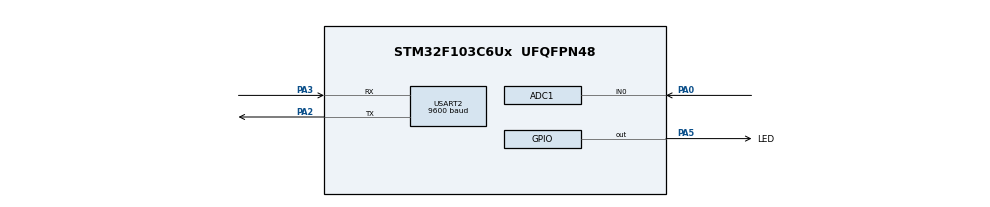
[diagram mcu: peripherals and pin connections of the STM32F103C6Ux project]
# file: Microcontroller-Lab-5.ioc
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ADC1.Channel-0\#ChannelRegularConversion=ADC_CHANNEL_0
ADC1.ContinuousConvMode=ENABLE
ADC1.NbrOfConversionFlag=1
ADC1.Rank-0\#ChannelRegularConversion=1
ADC1.SamplingTime-0\#ChannelRegularConversion=ADC_SAMPLETIME_1CYCLE_5
ADC1.master=1
Mcu.Family=STM32F1
Mcu.Name=STM32F103C6Ux
Mcu.Package=UFQFPN48
NVIC.PriorityGroup=NVIC_PRIORITYGROUP_4
NVIC.TIM2_IRQn=true\:0\:0\:false\:false\:true\:true\:true
NVIC.USART2_IRQn=true\:0\:0\:false\:false\:true\:true\:true
PA0-WKUP.Signal=ADCx_IN0
PA2.Mode=Asynchronous
PA2.Signal=USART2_TX
PA3.Mode=Asynchronous
PA3.Signal=USART2_RX
PA5.GPIO_Label=LED
PA5.Signal=GPIO_Output
ProjectManager.HeapSize=0x200
ProjectManager.StackSize=0x400
ProjectManager.TargetToolchain=STM32CubeIDE
RCC.APB1Freq_Value=8000000
RCC.APB2Freq_Value=8000000
SH.ADCx_IN0.0=ADC1_IN0,IN0
TIM2.Period=10
TIM2.Prescaler=7999
USART2.BaudRate=9600
USART2.VirtualMode=VM_ASYNC
VP_SYS_VS_ND.Mode=No_Debug
VP_TIM2_VS_ClockSourceINT.Mode=Internal
board=custom

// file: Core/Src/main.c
/* USER CODE BEGIN Header */
/**
  ******************************************************************************
  * @file           : main.c
  * @brief          : Main program body
  ******************************************************************************
  * @attention
  *
  * <h2><center>&copy; Copyright (c) 2022 STMicroelectronics.
  * All rights reserved.</center></h2>
  *
  * This software component is licensed by ST under BSD 3-Clause license,
  * the "License"; You may not use this file except in compliance with the
  * License. You may obtain a copy of the License at:
  *                        opensource.org/licenses/BSD-3-Clause
  *
  ******************************************************************************
  */
/* USER CODE END Header */
#include "main.h"

/* USER CODE BEGIN Includes */
#include <stdio.h>
#include "command_parser_fsm.h"
#include "uart_communiation_fsm.h"
#include "timer.h"
/* USER CODE END Includes */

ADC_HandleTypeDef hadc1;

TIM_HandleTypeDef htim2;

UART_HandleTypeDef huart2;

void SystemClock_Config(void);
static void MX_GPIO_Init(void);
static void MX_ADC1_Init(void);
static void MX_USART2_UART_Init(void);
static void MX_TIM2_Init(void);

/* USER CODE BEGIN 0 */
uint8_t temp = 0;
void HAL_UART_RxCpltCallback(UART_HandleTypeDef *huart) {
	if(huart->Instance == USART2) {
		HAL_UART_Transmit(&huart2, &temp, 1, 50);
		buffer[index_buffer] = temp;
		index_buffer++;
		if(index_buffer >= MAX_BUFFER_SIZE)
			index_buffer = 0;
		buffer_flag = 1;
		HAL_UART_Receive_IT(&huart2, &temp, 1);
	}
}
/* USER CODE END 0 */

int main(void)
{

  /* MCU Configuration--------------------------------------------------------*/

  /* Reset of all peripherals, Initializes the Flash interface and the Systick. */
  HAL_Init();

  /* Configure the system clock */
  SystemClock_Config();

  /* Initialize all configured peripherals */
  MX_GPIO_Init();
  MX_ADC1_Init();
  MX_USART2_UART_Init();
  MX_TIM2_Init();
  /* USER CODE BEGIN 2 */
  HAL_TIM_Base_Start_IT(&htim2);
  HAL_UART_Receive_IT(&huart2, &temp, 1);
  HAL_ADC_Start(&hadc1);

  /* USER CODE END 2 */
  char str[50];
  HAL_UART_Transmit(&huart2, (void *)str, sprintf(str, "%s", "Type Command:\r"), 1000);
  /* Infinite loop */
  /* USER CODE BEGIN WHILE */
  while (1)
  {
	  if(buffer_flag == 1)
	  {
		  command_parser_fsm();
		  buffer_flag = 0;
	  }
	  uart_communiation_fsm();
    /* USER CODE END WHILE */

  }
}

void SystemClock_Config(void)
{
  RCC_OscInitTypeDef RCC_OscInitStruct = {0};
  RCC_ClkInitTypeDef RCC_ClkInitStruct = {0};
  RCC_PeriphCLKInitTypeDef PeriphClkInit = {0};

  /** Initializes the RCC Oscillators according to the specified parameters
  * in the RCC_OscInitTypeDef structure.
  */
  RCC_OscInitStruct.OscillatorType = RCC_OSCILLATORTYPE_HSI;
  RCC_OscInitStruct.HSIState = RCC_HSI_ON;
  RCC_OscInitStruct.HSICalibrationValue = RCC_HSICALIBRATION_DEFAULT;
  RCC_OscInitStruct.PLL.PLLState = RCC_PLL_NONE;
  if (HAL_RCC_OscConfig(&RCC_OscInitStruct) != HAL_OK)
  {
    Error_Handler();
  }
  /** Initializes the CPU, AHB and APB buses clocks
  */
  RCC_ClkInitStruct.ClockType = RCC_CLOCKTYPE_HCLK|RCC_CLOCKTYPE_SYSCLK
                              |RCC_CLOCKTYPE_PCLK1|RCC_CLOCKTYPE_PCLK2;
  RCC_ClkInitStruct.SYSCLKSource = RCC_SYSCLKSOURCE_HSI;
  RCC_ClkInitStruct.AHBCLKDivider = RCC_SYSCLK_DIV1;
  RCC_ClkInitStruct.APB1CLKDivider = RCC_HCLK_DIV1;
  RCC_ClkInitStruct.APB2CLKDivider = RCC_HCLK_DIV1;

  if (HAL_RCC_ClockConfig(&RCC_ClkInitStruct, FLASH_LATENCY_0) != HAL_OK)
  {
    Error_Handler();
  }
  PeriphClkInit.PeriphClockSelection = RCC_PERIPHCLK_ADC;
  PeriphClkInit.AdcClockSelection = RCC_ADCPCLK2_DIV2;
  if (HAL_RCCEx_PeriphCLKConfig(&PeriphClkInit) != HAL_OK)
  {
    Error_Handler();
  }
}

static void MX_ADC1_Init(void)
{

  ADC_ChannelConfTypeDef sConfig = {0};

  /** Common config
  */
  hadc1.Instance = ADC1;
  hadc1.Init.ScanConvMode = ADC_SCAN_DISABLE;
  hadc1.Init.ContinuousConvMode = ENABLE;
  hadc1.Init.DiscontinuousConvMode = DISABLE;
  hadc1.Init.ExternalTrigConv = ADC_SOFTWARE_START;
  hadc1.Init.DataAlign = ADC_DATAALIGN_RIGHT;
  hadc1.Init.NbrOfConversion = 1;
  if (HAL_ADC_Init(&hadc1) != HAL_OK)
  {
    Error_Handler();
  }
  /** Configure Regular Channel
  */
  sConfig.Channel = ADC_CHANNEL_0;
  sConfig.Rank = ADC_REGULAR_RANK_1;
  sConfig.SamplingTime = ADC_SAMPLETIME_1CYCLE_5;
  if (HAL_ADC_ConfigChannel(&hadc1, &sConfig) != HAL_OK)
  {
    Error_Handler();
  }

}

static void MX_TIM2_Init(void)
{

  TIM_ClockConfigTypeDef sClockSourceConfig = {0};
  TIM_MasterConfigTypeDef sMasterConfig = {0};

  htim2.Instance = TIM2;
  htim2.Init.Prescaler = 7999;
  htim2.Init.CounterMode = TIM_COUNTERMODE_UP;
  htim2.Init.Period = 10;
  htim2.Init.ClockDivision = TIM_CLOCKDIVISION_DIV1;
  htim2.Init.AutoReloadPreload = TIM_AUTORELOAD_PRELOAD_DISABLE;
  if (HAL_TIM_Base_Init(&htim2) != HAL_OK)
  {
    Error_Handler();
  }
  sClockSourceConfig.ClockSource = TIM_CLOCKSOURCE_INTERNAL;
  if (HAL_TIM_ConfigClockSource(&htim2, &sClockSourceConfig) != HAL_OK)
  {
    Error_Handler();
  }
  sMasterConfig.MasterOutputTrigger = TIM_TRGO_RESET;
  sMasterConfig.MasterSlaveMode = TIM_MASTERSLAVEMODE_DISABLE;
  if (HAL_TIMEx_MasterConfigSynchronization(&htim2, &sMasterConfig) != HAL_OK)
  {
    Error_Handler();
  }

}

static void MX_USART2_UART_Init(void)
{

  huart2.Instance = USART2;
  huart2.Init.BaudRate = 9600;
  huart2.Init.WordLength = UART_WORDLENGTH_8B;
  huart2.Init.StopBits = UART_STOPBITS_1;
  huart2.Init.Parity = UART_PARITY_NONE;
  huart2.Init.Mode = UART_MODE_TX_RX;
  huart2.Init.HwFlowCtl = UART_HWCONTROL_NONE;
  huart2.Init.OverSampling = UART_OVERSAMPLING_16;
  if (HAL_UART_Init(&huart2) != HAL_OK)
  {
    Error_Handler();
  }

}

static void MX_GPIO_Init(void)
{
  GPIO_InitTypeDef GPIO_InitStruct = {0};

  /* GPIO Ports Clock Enable */
  __HAL_RCC_GPIOA_CLK_ENABLE();

  /*Configure GPIO pin Output Level */
  HAL_GPIO_WritePin(LED_GPIO_Port, LED_Pin, GPIO_PIN_RESET);

  /*Configure GPIO pin : LED_Pin */
  GPIO_InitStruct.Pin = LED_Pin;
  GPIO_InitStruct.Mode = GPIO_MODE_OUTPUT_PP;
  GPIO_InitStruct.Pull = GPIO_NOPULL;
  GPIO_InitStruct.Speed = GPIO_SPEED_FREQ_LOW;
  HAL_GPIO_Init(LED_GPIO_Port, &GPIO_InitStruct);

}

/* USER CODE BEGIN 4 */
void HAL_TIM_PeriodElapsedCallback(TIM_HandleTypeDef *htim)
{
	timerRun();
}
/* USER CODE END 4 */

void Error_Handler(void)
{
  __disable_irq();
  while (1)
  {
  }
}

/************************ (C) COPYRIGHT STMicroelectronics *****END OF FILE****/
